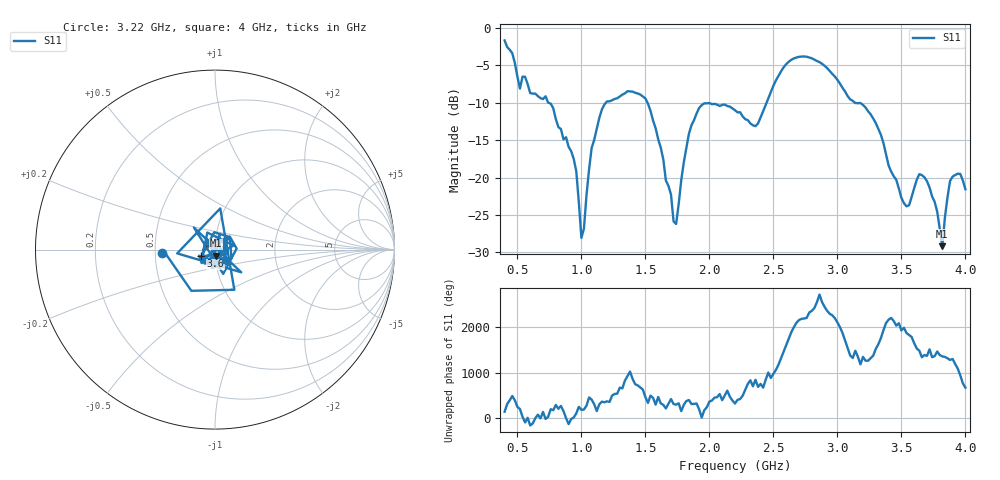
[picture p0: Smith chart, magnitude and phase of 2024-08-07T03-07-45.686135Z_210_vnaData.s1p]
!Created with skrf (http://scikit-rf.org).
# Hz S RI R 50.0
!freq ReS11 ImS11
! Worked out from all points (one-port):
!   181 points, 400 MHz to 4 GHz, reference 50 ohm
!   lowest |S11| = -29.2 dB at 3.82 GHz (marker M1), VSWR 1.07, Z = 50.4 - j3.48 ohm
!   |S11| at or under -10 dB: 743.9 MHz to 1.191 GHz (446.7 MHz wide, 46.2 % of centre); 1.517 GHz to 2.446 GHz (929.4 MHz wide, 46.9 % of centre); 3.138 GHz to end of sweep
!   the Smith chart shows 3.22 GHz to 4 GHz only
!   S11 on the Smith chart (normalised r, x): 3.22 GHz: 0.55, -0.02; 3.6 GHz: 0.86, -0.06; 4 GHz: 1.11, -0.14
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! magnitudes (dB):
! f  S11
! 400 MHz  -1.7
! 520 MHz  -8.1
! 560 MHz  -6.5
! 720 MHz  -9.1
! 860 MHz  -14.9
! 960 MHz  -19.1
! 1 GHz  -28.1
! 1.08 GHz  -16.0
! 1.14 GHz  -12.0
! 1.3 GHz  -9.1
! 1.5 GHz  -9.4
! 1.62 GHz  -16.0
! 1.72 GHz  -25.8
! 1.76 GHz  -23.5
! 1.84 GHz  -14.1
! 1.92 GHz  -10.7
! 2.2 GHz  -11.0
! 2.36 GHz  -13.1
! 2.66 GHz  -4.1
! 2.88 GHz  -4.8
! 3.1 GHz  -9.5
! 3.22 GHz  -10.6
! 3.56 GHz  -23.7
! 3.6 GHz  -21.4
! 3.7 GHz  -20.5
! 3.82 GHz  -29.2
! 3.88 GHz  -20.5
! 4 GHz  -21.5
